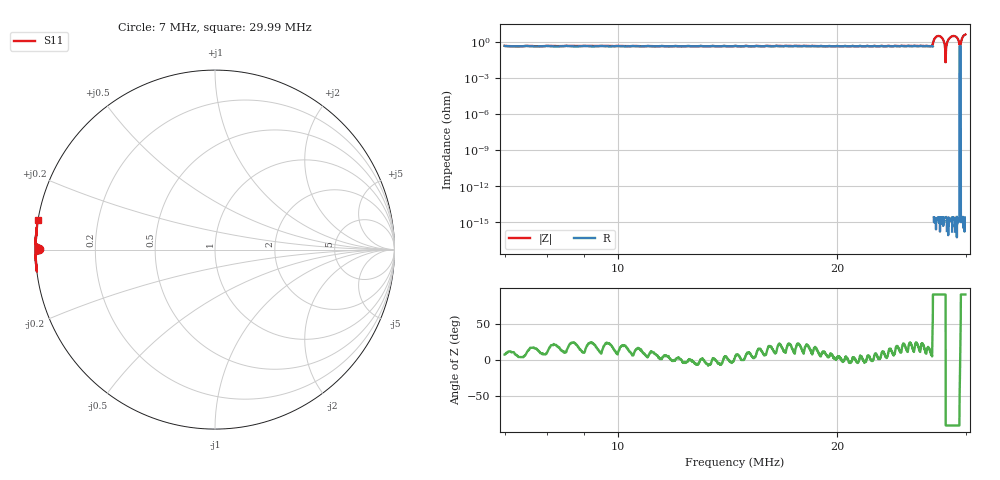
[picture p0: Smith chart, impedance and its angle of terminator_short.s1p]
! Touchstone file generated by AntScope2
# MHz Z RI R 50
! Format: Frequency Z-real Z-imaginary (normalized to 50 Ohm)
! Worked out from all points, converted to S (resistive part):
!   2000 points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, 7 MHz to 29.99 MHz, reference 50 ohm
!   read as one part to ground: R = 430 mohm at 7.115 MHz
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7  0.0092 0.0012
9.875  0.0086 0.0024
12.75  0.0086 -0.0006
15.625  0.0086 0.0024
18.5  0.0092 0.0014
21.375  0.0086 -0.0004
24.25  0.0086 0.0026
26.895  0.0088 0.0012
27.01  0.009 0.0034
27.125  0 0.0242
27.263  0 0.0438
27.401  0 0.0568
27.539  0 0.0614
27.6655  0 0.0586
27.7575  0 0.0522
27.861  0 0.0418
28.298  0 -0.016
28.551  0 -0.0432
28.7695  0 -0.0586
28.9535  0 -0.0608
29.1145  0 -0.0534
29.287  0 -0.035
29.4365  0.0084 -0.0112
29.5515  0.0084 0.0126
29.678  0 0.0396
29.77  0 0.0564
29.885  0 0.0728
29.9885  0 0.0824
